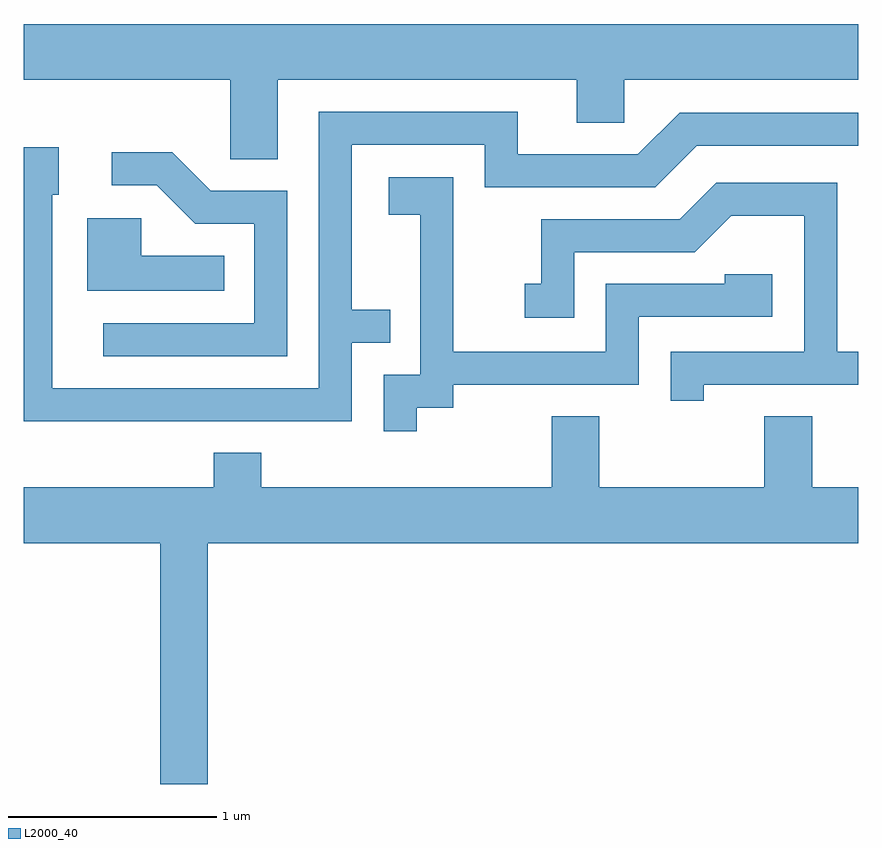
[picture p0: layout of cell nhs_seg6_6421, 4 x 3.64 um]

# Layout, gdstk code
import gdstk
lib = gdstk.Library(unit=1e-6, precision=1e-09)
def P(c, l, *ps):  # polygons
    for p in ps: c.add(gdstk.Polygon(p, *l))
L2000_40 = (2000, 40)

nhs_seg6_6421 = lib.new_cell('nhs_seg6_6421')
P(nhs_seg6_6421, L2000_40, [(380.829,1605.536),(382.261,1605.536),(382.261,1605.331),(382.489,1605.331),(382.489,1605.536),(383.611,1605.536),(383.611,1605.804),(379.611,1605.804),(379.611,1605.536),(380.601,1605.536),(380.601,1605.156),(380.829,1605.156)],
  [(381.184,1604.276),(381.368,1604.276),(381.368,1604.434),(381.184,1604.434),(381.184,1605.226),(381.821,1605.226),(381.821,1605.021),(382.637,1605.021),(382.837,1605.221),(383.611,1605.221),(383.611,1605.379),(382.754,1605.379),(382.554,1605.179),(381.979,1605.179),(381.979,1605.384),(381.026,1605.384),(381.026,1604.059),(379.749,1604.059),(379.749,1604.986),(379.779,1604.986),(379.779,1605.214),(379.611,1605.214),(379.611,1603.901),(381.184,1603.901)],
  [(380.874,1605.004),(380.507,1605.004),(380.322,1605.189),(380.033,1605.189),(380.033,1605.031),(380.249,1605.031),(380.434,1604.846),(380.716,1604.846),(380.716,1604.369),(379.993,1604.369),(379.993,1604.211),(380.874,1604.211)],
  [(381.494,1603.966),(381.669,1603.966),(381.669,1604.076),(382.559,1604.076),(382.559,1604.401),(383.199,1604.401),(383.199,1604.604),(382.971,1604.604),(382.971,1604.559),(382.401,1604.559),(382.401,1604.234),(381.669,1604.234),(381.669,1605.069),(381.361,1605.069),(381.361,1604.891),(381.511,1604.891),(381.511,1604.124),(381.336,1604.124),(381.336,1603.853),(381.494,1603.853)],
  [(382.869,1604.076),(383.611,1604.076),(383.611,1604.234),(383.509,1604.234),(383.509,1605.044),(382.929,1605.044),(382.754,1604.869),(382.091,1604.869),(382.091,1604.559),(382.013,1604.559),(382.013,1604.396),(382.249,1604.396),(382.249,1604.711),(382.827,1604.711),(383.002,1604.886),(383.351,1604.886),(383.351,1604.234),(382.711,1604.234),(382.711,1603.998),(382.869,1603.998)],
  [(380.573,1604.694),(380.174,1604.694),(380.174,1604.874),(379.916,1604.874),(379.916,1604.526),(380.573,1604.526)],
  [(380.494,1603.316),(383.611,1603.316),(383.611,1603.584),(383.389,1603.584),(383.389,1603.924),(383.161,1603.924),(383.161,1603.584),(382.369,1603.584),(382.369,1603.924),(382.141,1603.924),(382.141,1603.584),(380.749,1603.584),(380.749,1603.749),(380.521,1603.749),(380.521,1603.584),(379.611,1603.584),(379.611,1603.316),(380.266,1603.316),(380.266,1602.162),(380.494,1602.162)])

lib.write_gds('nhs_seg6_6421.gds')
